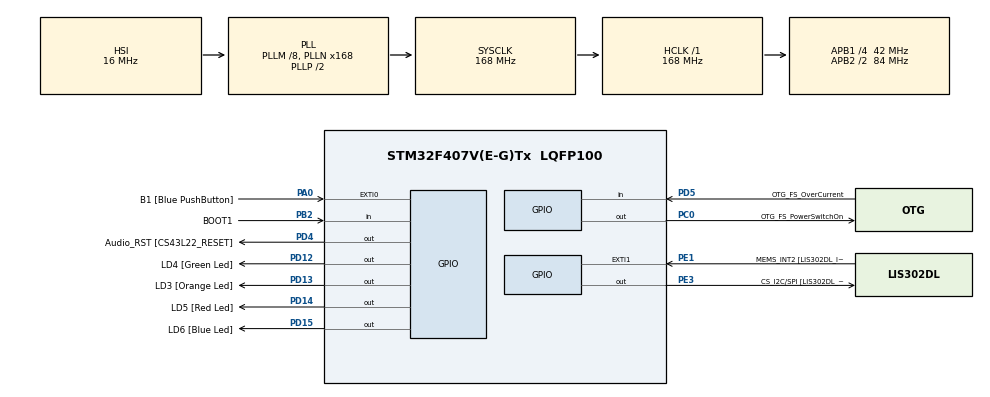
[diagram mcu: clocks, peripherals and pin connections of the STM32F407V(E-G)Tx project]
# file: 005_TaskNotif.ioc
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Mcu.Family=STM32F4
Mcu.Name=STM32F407V(E-G)Tx
Mcu.Package=LQFP100
NVIC.PriorityGroup=NVIC_PRIORITYGROUP_4
NVIC.TIM6_DAC_IRQn=true\:0\:0\:false\:false\:true\:false\:true\:true
NVIC.TimeBase=TIM6_DAC_IRQn
NVIC.TimeBaseIP=TIM6
PA0-WKUP.GPIO_Label=B1 [Blue PushButton]
PA0-WKUP.Signal=GPXTI0
PA10.GPIO_Label=OTG_FS_ID
PA10.GPIO_Mode=GPIO_MODE_AF_PP
PA10.GPIO_PuPd=GPIO_NOPULL
PA10.GPIO_Speed=GPIO_SPEED_FREQ_LOW
PA10.Signal=USB_OTG_FS_ID
PA11.GPIO_Label=OTG_FS_DM
PA11.GPIO_Mode=GPIO_MODE_AF_PP
PA11.GPIO_PuPd=GPIO_NOPULL
PA11.GPIO_Speed=GPIO_SPEED_FREQ_LOW
PA11.Signal=USB_OTG_FS_DM
PA12.GPIO_Label=OTG_FS_DP
PA12.GPIO_Mode=GPIO_MODE_AF_PP
PA12.GPIO_PuPd=GPIO_NOPULL
PA12.GPIO_Speed=GPIO_SPEED_FREQ_LOW
PA12.Signal=USB_OTG_FS_DP
PA13.GPIO_Label=SWDIO
PA13.Signal=SYS_JTMS-SWDIO
PA14.GPIO_Label=SWCLK
PA14.Signal=SYS_JTCK-SWCLK
PA4.GPIO_Label=I2S3_WS [CS43L22_LRCK]
PA4.GPIO_Mode=GPIO_MODE_AF_PP
PA4.GPIO_PuPd=GPIO_NOPULL
PA4.GPIO_Speed=GPIO_SPEED_FREQ_LOW
PA4.Signal=I2S3_WS
PA5.GPIO_Label=SPI1_SCK [LIS302DL_SCL/SPC]
PA5.GPIO_Mode=GPIO_MODE_AF_PP
PA5.GPIO_PuPd=GPIO_NOPULL
PA5.GPIO_Speed=GPIO_SPEED_FREQ_LOW
PA5.Signal=SPI1_SCK
PA6.GPIO_Label=SPI1_MISO [LIS302DL_SDO]
PA6.GPIO_Mode=GPIO_MODE_AF_PP
PA6.GPIO_PuPd=GPIO_NOPULL
PA6.GPIO_Speed=GPIO_SPEED_FREQ_LOW
PA6.Signal=SPI1_MISO
PA7.GPIO_Label=SPI1_MOSI [LIS302DL_SDA/SDI/SDO]
PA7.GPIO_Mode=GPIO_MODE_AF_PP
PA7.GPIO_PuPd=GPIO_NOPULL
PA7.GPIO_Speed=GPIO_SPEED_FREQ_LOW
PA7.Signal=SPI1_MOSI
PA9.GPIO_Label=VBUS_FS
PA9.GPIO_Mode=GPIO_MODE_INPUT
PA9.GPIO_PuPd=GPIO_NOPULL
PA9.Signal=USB_OTG_FS_VBUS
PB10.GPIO_Label=CLK_IN [MP45DT02_CLK]
PB10.GPIO_Mode=GPIO_MODE_AF_PP
PB10.GPIO_PuPd=GPIO_NOPULL
PB10.GPIO_Speed=GPIO_SPEED_FREQ_LOW
PB10.Signal=I2S2_CK
PB2.GPIO_Label=BOOT1
PB2.GPIO_Mode=GPIO_MODE_INPUT
PB2.GPIO_PuPd=GPIO_NOPULL
PB2.Signal=GPIO_Input
PB3.GPIO_Label=SWO
PB3.Signal=SYS_JTDO-SWO
PB6.GPIO_Label=Audio_SCL [CS43L22_SCL]
PB6.GPIO_Mode=GPIO_MODE_AF_OD
PB6.GPIO_PuPd=GPIO_NOPULL
PB6.GPIO_Speed=GPIO_SPEED_FREQ_LOW
PB6.Signal=I2C1_SCL
PB9.GPIO_Label=Audio_SDA [CS43L22_SDA]
PB9.GPIO_Mode=GPIO_MODE_AF_OD
PB9.GPIO_PuPd=GPIO_NOPULL
PB9.GPIO_Speed=GPIO_SPEED_FREQ_LOW
PB9.Signal=I2C1_SDA
PC0.GPIO_Label=OTG_FS_PowerSwitchOn
PC0.GPIO_PuPd=GPIO_NOPULL
PC0.GPIO_Speed=GPIO_SPEED_FREQ_LOW
PC0.PinState=GPIO_PIN_SET
PC0.Signal=GPIO_Output
PC10.GPIO_Label=I2S3_SCK [CS43L22_SCLK]
PC10.GPIO_Mode=GPIO_MODE_AF_PP
PC10.GPIO_PuPd=GPIO_NOPULL
PC10.GPIO_Speed=GPIO_SPEED_FREQ_LOW
PC10.Signal=I2S3_CK
PC12.GPIO_Label=I2S3_SD [CS43L22_SDIN]
PC12.GPIO_Mode=GPIO_MODE_AF_PP
PC12.GPIO_PuPd=GPIO_NOPULL
PC12.GPIO_Speed=GPIO_SPEED_FREQ_LOW
PC12.Signal=I2S3_SD
PC14-OSC32_IN.GPIO_Label=PC14-OSC32_IN
PC14-OSC32_IN.Signal=RCC_OSC32_IN
PC15-OSC32_OUT.GPIO_Label=PC15-OSC32_OUT
PC15-OSC32_OUT.Signal=RCC_OSC32_OUT
PC3.GPIO_Label=PDM_OUT [MP45DT02_DOUT]
PC3.GPIO_Mode=GPIO_MODE_AF_PP
PC3.GPIO_PuPd=GPIO_NOPULL
PC3.GPIO_Speed=GPIO_SPEED_FREQ_LOW
PC3.Signal=I2S2_SD
PC7.GPIO_Label=I2S3_MCK [CS43L22_MCLK]
PC7.GPIO_Mode=GPIO_MODE_AF_PP
PC7.GPIO_PuPd=GPIO_NOPULL
PC7.GPIO_Speed=GPIO_SPEED_FREQ_LOW
PC7.Signal=I2S3_MCK
PD12.GPIO_Label=LD4 [Green Led]
PD12.GPIO_PuPd=GPIO_NOPULL
PD12.GPIO_Speed=GPIO_SPEED_FREQ_LOW
PD12.Signal=GPIO_Output
PD13.GPIO_Label=LD3 [Orange Led]
PD13.GPIO_PuPd=GPIO_NOPULL
PD13.GPIO_Speed=GPIO_SPEED_FREQ_LOW
PD13.Signal=GPIO_Output
PD14.GPIO_Label=LD5 [Red Led]
PD14.GPIO_PuPd=GPIO_NOPULL
PD14.GPIO_Speed=GPIO_SPEED_FREQ_LOW
PD14.Signal=GPIO_Output
PD15.GPIO_Label=LD6 [Blue Led]
PD15.GPIO_PuPd=GPIO_NOPULL
PD15.GPIO_Speed=GPIO_SPEED_FREQ_LOW
PD15.Signal=GPIO_Output
PD4.GPIO_Label=Audio_RST [CS43L22_RESET]
PD4.GPIO_PuPd=GPIO_NOPULL
PD4.GPIO_Speed=GPIO_SPEED_FREQ_LOW
PD4.Signal=GPIO_Output
PD5.GPIO_Label=OTG_FS_OverCurrent
PD5.GPIO_Mode=GPIO_MODE_INPUT
PD5.GPIO_PuPd=GPIO_NOPULL
PD5.Signal=GPIO_Input
PE1.GPIO_Label=MEMS_INT2 [LIS302DL_INT2]
PE1.GPIO_ModeDefaultEXTI=GPIO_MODE_EVT_RISING
PE1.GPIO_PuPd=GPIO_NOPULL
PE1.Signal=GPXTI1
PE3.GPIO_Label=CS_I2C/SPI [LIS302DL_CS_I2C/SPI]
PE3.GPIO_PuPd=GPIO_NOPULL
PE3.GPIO_Speed=GPIO_SPEED_FREQ_LOW
PE3.Signal=GPIO_Output
PH0-OSC_IN.GPIO_Label=PH0-OSC_IN
PH0-OSC_IN.Signal=RCC_OSC_IN
PH1-OSC_OUT.GPIO_Label=PH1-OSC_OUT
PH1-OSC_OUT.Signal=RCC_OSC_OUT
ProjectManager.HeapSize=0x200
ProjectManager.StackSize=0x400
ProjectManager.TargetToolchain=STM32CubeIDE
RCC.48MHZClocksFreq_Value=48000000
RCC.AHBFreq_Value=168000000
RCC.APB1CLKDivider=RCC_HCLK_DIV4
RCC.APB1Freq_Value=42000000
RCC.APB1TimFreq_Value=84000000
RCC.APB2CLKDivider=RCC_HCLK_DIV2
RCC.APB2Freq_Value=84000000
RCC.APB2TimFreq_Value=168000000
RCC.CortexFreq_Value=168000000
RCC.HCLKFreq_Value=168000000
RCC.HSE_VALUE=8000000
RCC.HSI_VALUE=16000000
RCC.LSE_VALUE=32768
RCC.PLLM=8
RCC.PLLN=168
RCC.PLLQ=7
RCC.SYSCLKFreq_VALUE=168000000
RCC.SYSCLKSource=RCC_SYSCLKSOURCE_PLLCLK
RCC.VCOOutputFreq_Value=336000000
VP_SYS_VS_tim6.Mode=TIM6
board=STM32F407G-DISC1

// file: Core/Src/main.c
/* USER CODE BEGIN Header */
/**
  ******************************************************************************
  * @file           : main.c
  * @brief          : Main program body
  ******************************************************************************
  * @attention
  *
  * <h2><center>&copy; Copyright (c) 2021 STMicroelectronics.
  * All rights reserved.</center></h2>
  *
  * This software component is licensed by ST under BSD 3-Clause license,
  * the "License"; You may not use this file except in compliance with the
  * License. You may obtain a copy of the License at:
  *                        opensource.org/licenses/BSD-3-Clause
  *
  ******************************************************************************
  */
/* USER CODE END Header */
#include "main.h"

/* USER CODE BEGIN Includes */
//Direct task Notifications

#include "FreeRTOS.h"
#include "task.h"

/* USER CODE END Includes */

/* USER CODE BEGIN PV */

#define DWT_CTRL    (*(volatile uint32_t*)0xE0001000)

/* USER CODE END PV */

void SystemClock_Config(void);
static void MX_GPIO_Init(void);
/* USER CODE BEGIN PFP */

static void led_green_handler(void* parameters);
static void led_orange_handler(void* parameters);

extern void SEGGER_UART_init(uint32_t);

/* USER CODE END PFP */

/* USER CODE BEGIN 0 */
TaskHandle_t task1_handle;
	TaskHandle_t task2_handle;
	BaseType_t status;
/* USER CODE END 0 */

int main(void)
{

  /* MCU Configuration--------------------------------------------------------*/

  /* Reset of all peripherals, Initializes the Flash interface and the Systick. */
  HAL_Init();

  /* Configure the system clock */
  SystemClock_Config();

  /* Initialize all configured peripherals */
  MX_GPIO_Init();
  /* USER CODE BEGIN 2 */

  SEGGER_UART_init(500000);

  //CYCLCNT enable
  DWT_CTRL |= ( 1 << 0);

  SEGGER_SYSVIEW_Conf();

  status=xTaskCreate(led_green_handler, "Green_LEDTask", 200, NULL, 2, &task1_handle);
  configASSERT(status == pdPASS);
  status=xTaskCreate(led_orange_handler, "Orange_LEDTask", 200, NULL, 2, &task2_handle);
  configASSERT(status == pdPASS);
  //start the freeRTOS scheduler
  vTaskStartScheduler();
  /* USER CODE END 2 */

  /* Infinite loop */
  while (1)
  {

  }
}

void SystemClock_Config(void)
{
  RCC_OscInitTypeDef RCC_OscInitStruct = {0};
  RCC_ClkInitTypeDef RCC_ClkInitStruct = {0};

  /** Configure the main internal regulator output voltage
  */
  __HAL_RCC_PWR_CLK_ENABLE();
  __HAL_PWR_VOLTAGESCALING_CONFIG(PWR_REGULATOR_VOLTAGE_SCALE1);

  /** Initializes the RCC Oscillators according to the specified parameters
  * in the RCC_OscInitTypeDef structure.
  */
  RCC_OscInitStruct.OscillatorType = RCC_OSCILLATORTYPE_HSI;
  RCC_OscInitStruct.HSIState = RCC_HSI_ON;
  RCC_OscInitStruct.HSICalibrationValue = RCC_HSICALIBRATION_DEFAULT;
  RCC_OscInitStruct.PLL.PLLState = RCC_PLL_ON;
  RCC_OscInitStruct.PLL.PLLSource = RCC_PLLSOURCE_HSI;
  RCC_OscInitStruct.PLL.PLLM = 8;
  RCC_OscInitStruct.PLL.PLLN = 168;
  RCC_OscInitStruct.PLL.PLLP = RCC_PLLP_DIV2;
  RCC_OscInitStruct.PLL.PLLQ = 7;
  if (HAL_RCC_OscConfig(&RCC_OscInitStruct) != HAL_OK)
  {
    Error_Handler();
  }

  /** Initializes the CPU, AHB and APB buses clocks
  */
  RCC_ClkInitStruct.ClockType = RCC_CLOCKTYPE_HCLK|RCC_CLOCKTYPE_SYSCLK
                              |RCC_CLOCKTYPE_PCLK1|RCC_CLOCKTYPE_PCLK2;
  RCC_ClkInitStruct.SYSCLKSource = RCC_SYSCLKSOURCE_PLLCLK;
  RCC_ClkInitStruct.AHBCLKDivider = RCC_SYSCLK_DIV1;
  RCC_ClkInitStruct.APB1CLKDivider = RCC_HCLK_DIV4;
  RCC_ClkInitStruct.APB2CLKDivider = RCC_HCLK_DIV2;

  if (HAL_RCC_ClockConfig(&RCC_ClkInitStruct, FLASH_LATENCY_5) != HAL_OK)
  {
    Error_Handler();
  }
}

static void MX_GPIO_Init(void)
{
  GPIO_InitTypeDef GPIO_InitStruct = {0};

  /* GPIO Ports Clock Enable */
  __HAL_RCC_GPIOE_CLK_ENABLE();
  __HAL_RCC_GPIOC_CLK_ENABLE();
  __HAL_RCC_GPIOH_CLK_ENABLE();
  __HAL_RCC_GPIOA_CLK_ENABLE();
  __HAL_RCC_GPIOB_CLK_ENABLE();
  __HAL_RCC_GPIOD_CLK_ENABLE();

  /*Configure GPIO pin Output Level */
  HAL_GPIO_WritePin(CS_I2C_SPI_GPIO_Port, CS_I2C_SPI_Pin, GPIO_PIN_RESET);

  /*Configure GPIO pin Output Level */
  HAL_GPIO_WritePin(OTG_FS_PowerSwitchOn_GPIO_Port, OTG_FS_PowerSwitchOn_Pin, GPIO_PIN_SET);

  /*Configure GPIO pin Output Level */
  HAL_GPIO_WritePin(GPIOD, LD4_Pin|LD3_Pin|LD5_Pin|LD6_Pin
                          |Audio_RST_Pin, GPIO_PIN_RESET);

  /*Configure GPIO pin : CS_I2C_SPI_Pin */
  GPIO_InitStruct.Pin = CS_I2C_SPI_Pin;
  GPIO_InitStruct.Mode = GPIO_MODE_OUTPUT_PP;
  GPIO_InitStruct.Pull = GPIO_NOPULL;
  GPIO_InitStruct.Speed = GPIO_SPEED_FREQ_LOW;
  HAL_GPIO_Init(CS_I2C_SPI_GPIO_Port, &GPIO_InitStruct);

  /*Configure GPIO pin : OTG_FS_PowerSwitchOn_Pin */
  GPIO_InitStruct.Pin = OTG_FS_PowerSwitchOn_Pin;
  GPIO_InitStruct.Mode = GPIO_MODE_OUTPUT_PP;
  GPIO_InitStruct.Pull = GPIO_NOPULL;
  GPIO_InitStruct.Speed = GPIO_SPEED_FREQ_LOW;
  HAL_GPIO_Init(OTG_FS_PowerSwitchOn_GPIO_Port, &GPIO_InitStruct);

  /*Configure GPIO pin : PDM_OUT_Pin */
  GPIO_InitStruct.Pin = PDM_OUT_Pin;
  GPIO_InitStruct.Mode = GPIO_MODE_AF_PP;
  GPIO_InitStruct.Pull = GPIO_NOPULL;
  GPIO_InitStruct.Speed = GPIO_SPEED_FREQ_LOW;
  GPIO_InitStruct.Alternate = GPIO_AF5_SPI2;
  HAL_GPIO_Init(PDM_OUT_GPIO_Port, &GPIO_InitStruct);

  /*Configure GPIO pin : B1_Pin */
  GPIO_InitStruct.Pin = B1_Pin;
  GPIO_InitStruct.Mode = GPIO_MODE_IT_RISING;
  GPIO_InitStruct.Pull = GPIO_NOPULL;
  HAL_GPIO_Init(B1_GPIO_Port, &GPIO_InitStruct);

  /*Configure GPIO pin : I2S3_WS_Pin */
  GPIO_InitStruct.Pin = I2S3_WS_Pin;
  GPIO_InitStruct.Mode = GPIO_MODE_AF_PP;
  GPIO_InitStruct.Pull = GPIO_NOPULL;
  GPIO_InitStruct.Speed = GPIO_SPEED_FREQ_LOW;
  GPIO_InitStruct.Alternate = GPIO_AF6_SPI3;
  HAL_GPIO_Init(I2S3_WS_GPIO_Port, &GPIO_InitStruct);

  /*Configure GPIO pins : SPI1_SCK_Pin SPI1_MISO_Pin SPI1_MOSI_Pin */
  GPIO_InitStruct.Pin = SPI1_SCK_Pin|SPI1_MISO_Pin|SPI1_MOSI_Pin;
  GPIO_InitStruct.Mode = GPIO_MODE_AF_PP;
  GPIO_InitStruct.Pull = GPIO_NOPULL;
  GPIO_InitStruct.Speed = GPIO_SPEED_FREQ_LOW;
  GPIO_InitStruct.Alternate = GPIO_AF5_SPI1;
  HAL_GPIO_Init(GPIOA, &GPIO_InitStruct);

  /*Configure GPIO pin : BOOT1_Pin */
  GPIO_InitStruct.Pin = BOOT1_Pin;
  GPIO_InitStruct.Mode = GPIO_MODE_INPUT;
  GPIO_InitStruct.Pull = GPIO_NOPULL;
  HAL_GPIO_Init(BOOT1_GPIO_Port, &GPIO_InitStruct);

  /*Configure GPIO pin : CLK_IN_Pin */
  GPIO_InitStruct.Pin = CLK_IN_Pin;
  GPIO_InitStruct.Mode = GPIO_MODE_AF_PP;
  GPIO_InitStruct.Pull = GPIO_NOPULL;
  GPIO_InitStruct.Speed = GPIO_SPEED_FREQ_LOW;
  GPIO_InitStruct.Alternate = GPIO_AF5_SPI2;
  HAL_GPIO_Init(CLK_IN_GPIO_Port, &GPIO_InitStruct);

  /*Configure GPIO pins : LD4_Pin LD3_Pin LD5_Pin LD6_Pin
                           Audio_RST_Pin */
  GPIO_InitStruct.Pin = LD4_Pin|LD3_Pin|LD5_Pin|LD6_Pin
                          |Audio_RST_Pin;
  GPIO_InitStruct.Mode = GPIO_MODE_OUTPUT_PP;
  GPIO_InitStruct.Pull = GPIO_NOPULL;
  GPIO_InitStruct.Speed = GPIO_SPEED_FREQ_LOW;
  HAL_GPIO_Init(GPIOD, &GPIO_InitStruct);

  /*Configure GPIO pins : I2S3_MCK_Pin I2S3_SCK_Pin I2S3_SD_Pin */
  GPIO_InitStruct.Pin = I2S3_MCK_Pin|I2S3_SCK_Pin|I2S3_SD_Pin;
  GPIO_InitStruct.Mode = GPIO_MODE_AF_PP;
  GPIO_InitStruct.Pull = GPIO_NOPULL;
  GPIO_InitStruct.Speed = GPIO_SPEED_FREQ_LOW;
  GPIO_InitStruct.Alternate = GPIO_AF6_SPI3;
  HAL_GPIO_Init(GPIOC, &GPIO_InitStruct);

  /*Configure GPIO pin : VBUS_FS_Pin */
  GPIO_InitStruct.Pin = VBUS_FS_Pin;
  GPIO_InitStruct.Mode = GPIO_MODE_INPUT;
  GPIO_InitStruct.Pull = GPIO_NOPULL;
  HAL_GPIO_Init(VBUS_FS_GPIO_Port, &GPIO_InitStruct);

  /*Configure GPIO pins : OTG_FS_ID_Pin OTG_FS_DM_Pin OTG_FS_DP_Pin */
  GPIO_InitStruct.Pin = OTG_FS_ID_Pin|OTG_FS_DM_Pin|OTG_FS_DP_Pin;
  GPIO_InitStruct.Mode = GPIO_MODE_AF_PP;
  GPIO_InitStruct.Pull = GPIO_NOPULL;
  GPIO_InitStruct.Speed = GPIO_SPEED_FREQ_LOW;
  GPIO_InitStruct.Alternate = GPIO_AF10_OTG_FS;
  HAL_GPIO_Init(GPIOA, &GPIO_InitStruct);

  /*Configure GPIO pin : OTG_FS_OverCurrent_Pin */
  GPIO_InitStruct.Pin = OTG_FS_OverCurrent_Pin;
  GPIO_InitStruct.Mode = GPIO_MODE_INPUT;
  GPIO_InitStruct.Pull = GPIO_NOPULL;
  HAL_GPIO_Init(OTG_FS_OverCurrent_GPIO_Port, &GPIO_InitStruct);

  /*Configure GPIO pins : Audio_SCL_Pin Audio_SDA_Pin */
  GPIO_InitStruct.Pin = Audio_SCL_Pin|Audio_SDA_Pin;
  GPIO_InitStruct.Mode = GPIO_MODE_AF_OD;
  GPIO_InitStruct.Pull = GPIO_NOPULL;
  GPIO_InitStruct.Speed = GPIO_SPEED_FREQ_LOW;
  GPIO_InitStruct.Alternate = GPIO_AF4_I2C1;
  HAL_GPIO_Init(GPIOB, &GPIO_InitStruct);

  /*Configure GPIO pin : MEMS_INT2_Pin */
  GPIO_InitStruct.Pin = MEMS_INT2_Pin;
  GPIO_InitStruct.Mode = GPIO_MODE_EVT_RISING;
  GPIO_InitStruct.Pull = GPIO_NOPULL;
  HAL_GPIO_Init(MEMS_INT2_GPIO_Port, &GPIO_InitStruct);

}

/* USER CODE BEGIN 4 */

static void led_green_handler(void* parameters)
{
	while(1)
	{
		vTaskDelay(pdMS_TO_TICKS(2000));
		xTaskNotify(task2_handle,0x01,eIncrement);
		SEGGER_SYSVIEW_PrintfTarget("Sent Notif to OrangeTask");
	}
}
static void led_orange_handler(void* parameters)
{
	uint32_t notificationValue;
	while(1)
	{
		if(xTaskNotifyWait(
				0,                // don't clear bits on entry
				0xFFFFFFFF,       // clear all bits on exit
				&notificationValue,
				portMAX_DELAY))   // wait forever
		{
			SEGGER_SYSVIEW_PrintfTarget("Received notification value from led_green_handler: %lu\n", notificationValue);
			HAL_GPIO_TogglePin(GPIOD, LED_ORANGE_PIN);
		}
	}
}

/* USER CODE END 4 */

void HAL_TIM_PeriodElapsedCallback(TIM_HandleTypeDef *htim)
{
  if (htim->Instance == TIM6)
  {
    HAL_IncTick();
  }
}

void Error_Handler(void)
{
}
